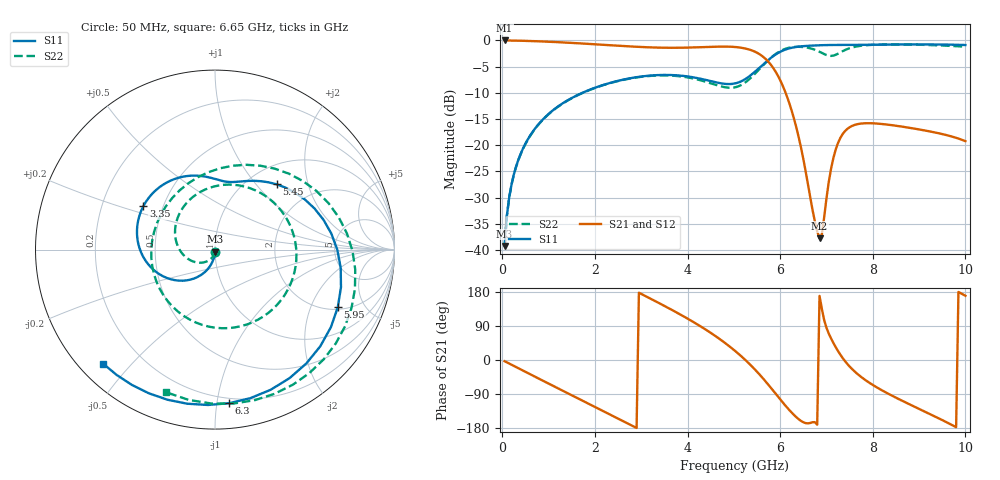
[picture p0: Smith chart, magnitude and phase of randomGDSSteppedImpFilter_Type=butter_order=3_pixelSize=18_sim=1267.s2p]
! freq	dB(S11)	phase(S11)	dB(S12)	phase(S12)
!  dB(S21)	phase(S21)	dB(S22)	phase(S22)
!S-par simulation data
#  GHz  S  DB  R 50
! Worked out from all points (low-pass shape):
!   200 points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, 50 MHz to 10 GHz, reference 50 ohm
!   highest |S21| = -0.01 dB at 50 MHz (marker M1); lowest = -37.8 dB at 6.85 GHz (marker M2)
!   |S21| within 3 dB of the highest: start of sweep to 5.615 GHz
!   lowest |S11| = -39.2 dB at 50 MHz (marker M3), VSWR 1.02, Z = 50 - j1.1 ohm
!   |S11| at or under -10 dB: start of sweep to 1.729 GHz
!   |S22| runs from -39.3 to -0.8 dB; largest |S21 - S12| = 0
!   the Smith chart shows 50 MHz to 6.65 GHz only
!   S11 on the Smith chart (normalised r, x): 50 MHz: 1.00, -0.02; 3.35 GHz: 0.39, +0.24; 5.45 GHz: 1.33, +1.29; 5.95 GHz: 2.11, -3.16; 6.3 GHz: 0.17, -1.08; 6.65 GHz: 0.07, -0.42
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0.05  -39.20 -88.0  -0.01 -3.2  -0.01 -3.2  -39.25 -90.6
0.2  -27.44 -96.8  -0.03 -12.6  -0.03 -12.6  -27.50 -107.5
0.5  -19.70 -108.2  -0.09 -31.3  -0.09 -31.3  -19.75 -135.1
1.75  -9.92 -151.4  -0.60 -108.5  -0.60 -108.5  -9.96 113.0
2.55  -7.61 -179.5  -1.04 -157.7  -1.04 -157.7  -7.65 43.0
3.35  -6.62 148.8  -1.37 152.4  -1.37 152.4  -6.70 -24.1
3.4  -6.60 146.6  -1.38 149.2  -1.38 149.2  -6.69 -28.3
4.35  -7.45 103.7  -1.28 83.6  -1.28 83.6  -7.78 -115.2
5.05  -8.15 74.4  -1.28 21.6  -1.28 21.6  -8.90 147.0
5.45  -6.02 46.7  -2.13 -24.4  -2.13 -24.4  -6.41 77.9
5.95  -2.43 -25.2  -6.71 -96.1  -6.71 -96.1  -2.31 -0.6
6.3  -1.32 -84.7  -14.97 -145.2  -14.97 -145.2  -1.25 -52.6
6.65  -1.01 -134.5  -29.98 -166.1  -29.98 -166.1  -1.51 -109.1
6.7  -0.99 -140.6  -32.39 -164.2  -32.39 -164.2  -1.64 -119.0
6.85  -0.93 -157.8  -37.76 169.1  -37.76 169.1  -2.17 -154.4
7  -0.89 -173.5  -30.14 85.0  -30.14 85.0  -2.79 157.7
7.15  -0.87 172.2  -22.41 44.9  -22.41 44.9  -2.90 99.8
7.5  -0.88 143.2  -16.56 -17.2  -16.56 -17.2  -1.49 -1.7
7.85  -0.85 118.1  -15.80 -53.8  -15.80 -53.8  -0.93 -50.4
8.35  -0.79 86.0  -16.10 -90.0  -16.10 -90.0  -0.77 -91.3
9.3  -0.77 31.2  -17.48 -146.5  -17.48 -146.5  -0.91 -150.5
10  -0.88 -7.0  -19.22 169.5  -19.22 169.5  -1.21 157.3
